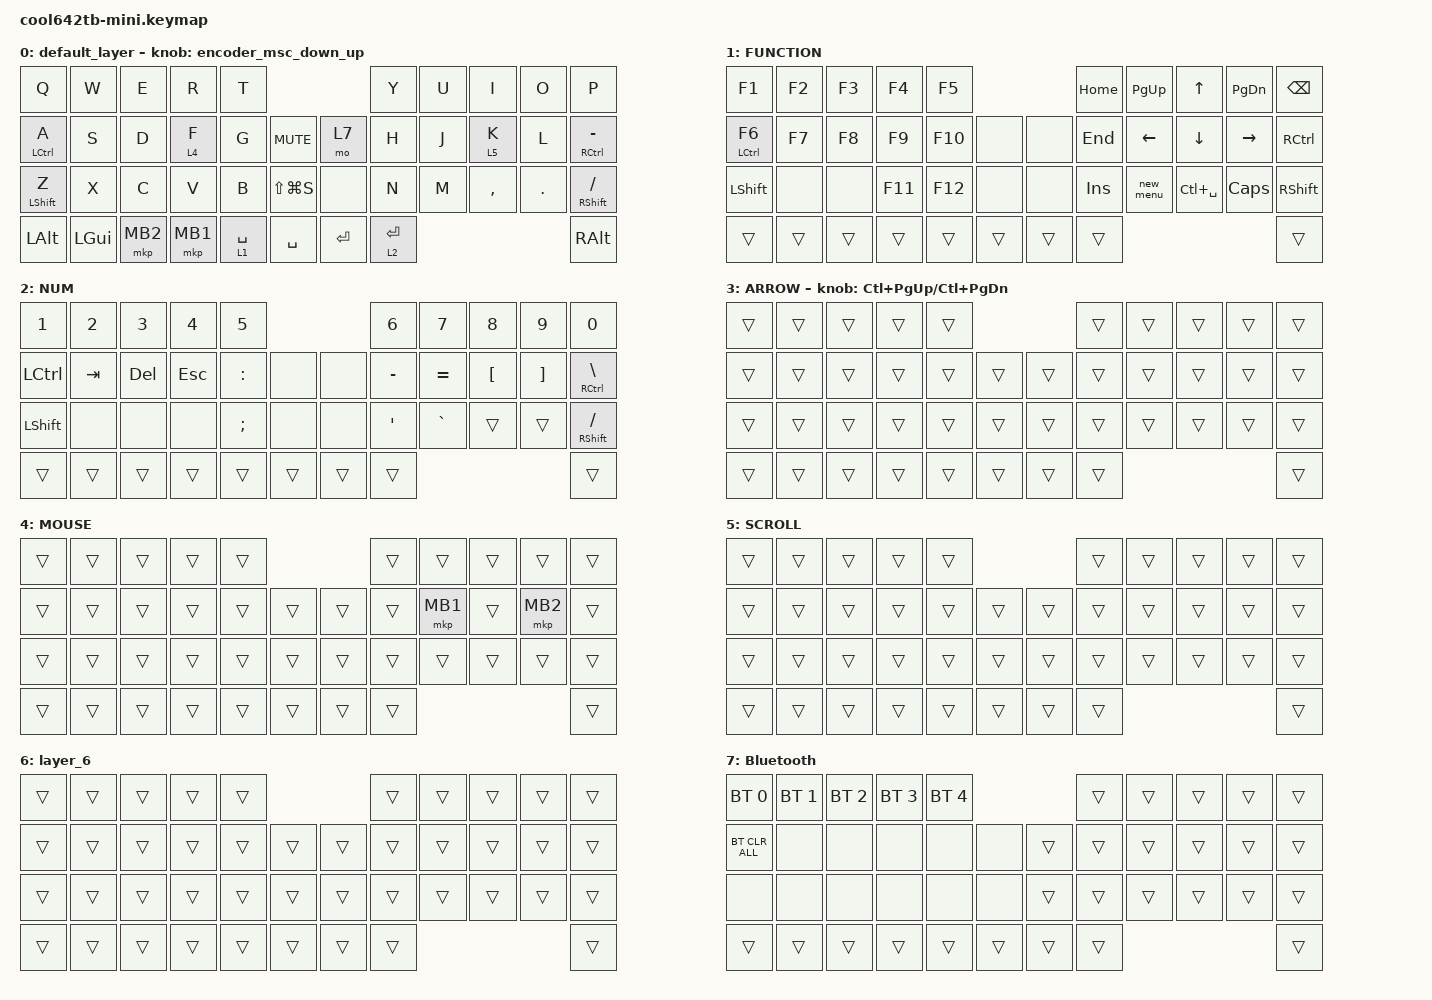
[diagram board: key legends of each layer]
#include <behaviors.dtsi>
#include <dt-bindings/zmk/bt.h>
#include <dt-bindings/zmk/keys.h>
#include <dt-bindings/zmk/pointing.h>

#define MOUSE 4
#define SCROLL 5
#define NUM 6
#define ZMK_POINTING_DEFAULT_SCRL_VAL 80

&mt {
    flavor = "balanced";
    quick-tap-ms = <0>;
};

/ {
    combos {
        compatible = "zmk,combos";

        shift_tab {
            bindings = <&kp LANG2>;
            key-positions = <12 13>;
        };

        lang {
            bindings = <&kp LANG1>;
            key-positions = <18 19>;
        };
    };

    behaviors {
        encoder_msc_down_up: encoder_msc_down_up {
            compatible = "zmk,behavior-sensor-rotate";
            label = "ENCODER_MSC_DOWN_UP";
            #sensor-binding-cells = <0>;
            bindings = <&msc SCRL_UP>, <&msc SCRL_DOWN>;

            tap-ms = <20>;
        };
    };

    macros {
        new_menu: new_menu {
            compatible = "zmk,behavior-macro";
            #binding-cells = <0>;
            bindings =
                <&macro_press>,
                <&kp LEFT_SHIFT>,
                <&macro_tap>,
                <&kp K_CONTEXT_MENU>,
                <&macro_release>,
                <&kp LEFT_SHIFT>;

            label = "NEW_MENU";
        };
    };

    keymap {
        compatible = "zmk,keymap";

        default_layer {
            bindings = <
&kp Q               &kp W         &kp E     &kp R     &kp T                                      &kp Y        &kp U  &kp I      &kp O    &kp P
&mt LEFT_CONTROL A  &kp S         &kp D     &lt 4 F   &kp G        &kp C_MUTE         &mo 7      &kp H        &kp J  &lt 5 K    &kp L    &mt RIGHT_CONTROL MINUS
&mt LEFT_SHIFT Z    &kp X         &kp C     &kp V     &kp B        &kp LS(LG(S))      &none      &kp N        &kp M  &kp COMMA  &kp DOT  &mt RIGHT_SHIFT SLASH
&kp LEFT_ALT        &kp LEFT_GUI  &mkp MB2  &mkp MB1  &lt 1 SPACE  &kp SPACE          &kp ENTER  &lt 2 ENTER                             &kp RIGHT_ALT
            >;

            sensor-bindings = <&encoder_msc_down_up>;
        };

        FUNCTION {
            bindings = <
&kp F1               &kp F2  &kp F3  &kp F4   &kp F5                       &kp HOME  &kp PG_UP  &kp UP_ARROW   &kp PG_DN        &kp BACKSPACE
&mt LEFT_CONTROL F6  &kp F7  &kp F8  &kp F9   &kp F10  &none       &none   &kp END   &kp LEFT   &kp DOWN       &kp RIGHT_ARROW  &kp RIGHT_CONTROL
&kp LEFT_SHIFT       &none   &none   &kp F11  &kp F12  &none       &none   &kp INS   &new_menu  &kp LC(SPACE)  &kp CAPSLOCK     &kp RIGHT_SHIFT
&trans               &trans  &trans  &trans   &trans   &trans      &trans  &trans                                               &trans
            >;
        };

        NUM {
            bindings = <
&kp NUMBER_1      &kp NUMBER_2  &kp NUMBER_3  &kp NUMBER_4  &kp N5                             &kp NUMBER_6  &kp N7     &kp N8            &kp N9             &kp N0
&kp LEFT_CONTROL  &kp TAB       &kp DELETE    &kp ESCAPE    &kp COLON      &none       &none   &kp MINUS     &kp EQUAL  &kp LEFT_BRACKET  &kp RIGHT_BRACKET  &mt RIGHT_CONTROL BACKSLASH
&kp LEFT_SHIFT    &none         &none         &none         &kp SEMICOLON  &none       &none   &kp APOS      &kp GRAVE  &trans            &trans             &mt RIGHT_SHIFT SLASH
&trans            &trans        &trans        &trans        &trans         &trans      &trans  &trans                                                        &trans
            >;
        };

        ARROW {
            bindings = <
&trans  &trans  &trans  &trans  &trans                      &trans  &trans  &trans  &trans  &trans
&trans  &trans  &trans  &trans  &trans  &trans      &trans  &trans  &trans  &trans  &trans  &trans
&trans  &trans  &trans  &trans  &trans  &trans      &trans  &trans  &trans  &trans  &trans  &trans
&trans  &trans  &trans  &trans  &trans  &trans      &trans  &trans                          &trans
            >;

            sensor-bindings = <&inc_dec_kp LC(PAGE_UP) LC(PAGE_DOWN)>;
        };

        MOUSE {
            bindings = <
&trans  &trans  &trans  &trans  &trans                      &trans  &trans    &trans  &trans    &trans
&trans  &trans  &trans  &trans  &trans  &trans      &trans  &trans  &mkp MB1  &trans  &mkp MB2  &trans
&trans  &trans  &trans  &trans  &trans  &trans      &trans  &trans  &trans    &trans  &trans    &trans
&trans  &trans  &trans  &trans  &trans  &trans      &trans  &trans                              &trans
            >;
        };

        SCROLL {
            bindings = <
&trans  &trans  &trans  &trans  &trans                      &trans  &trans  &trans  &trans  &trans
&trans  &trans  &trans  &trans  &trans  &trans      &trans  &trans  &trans  &trans  &trans  &trans
&trans  &trans  &trans  &trans  &trans  &trans      &trans  &trans  &trans  &trans  &trans  &trans
&trans  &trans  &trans  &trans  &trans  &trans      &trans  &trans                          &trans
            >;
        };

        layer_6 {
            bindings = <
&trans  &trans  &trans  &trans  &trans                      &trans  &trans  &trans  &trans  &trans
&trans  &trans  &trans  &trans  &trans  &trans      &trans  &trans  &trans  &trans  &trans  &trans
&trans  &trans  &trans  &trans  &trans  &trans      &trans  &trans  &trans  &trans  &trans  &trans
&trans  &trans  &trans  &trans  &trans  &trans      &trans  &trans                          &trans
            >;
        };

        Bluetooth {
            bindings = <
&bt BT_SEL 0    &bt BT_SEL 1  &bt BT_SEL 2  &bt BT_SEL 3  &bt BT_SEL 4                      &trans  &trans  &trans  &trans  &trans
&bt BT_CLR_ALL  &none         &none         &none         &none         &none       &trans  &trans  &trans  &trans  &trans  &trans
&none           &none         &none         &none         &none         &none       &trans  &trans  &trans  &trans  &trans  &trans
&trans          &trans        &trans        &trans        &trans        &trans      &trans  &trans                          &trans
            >;
        };
    };
};
